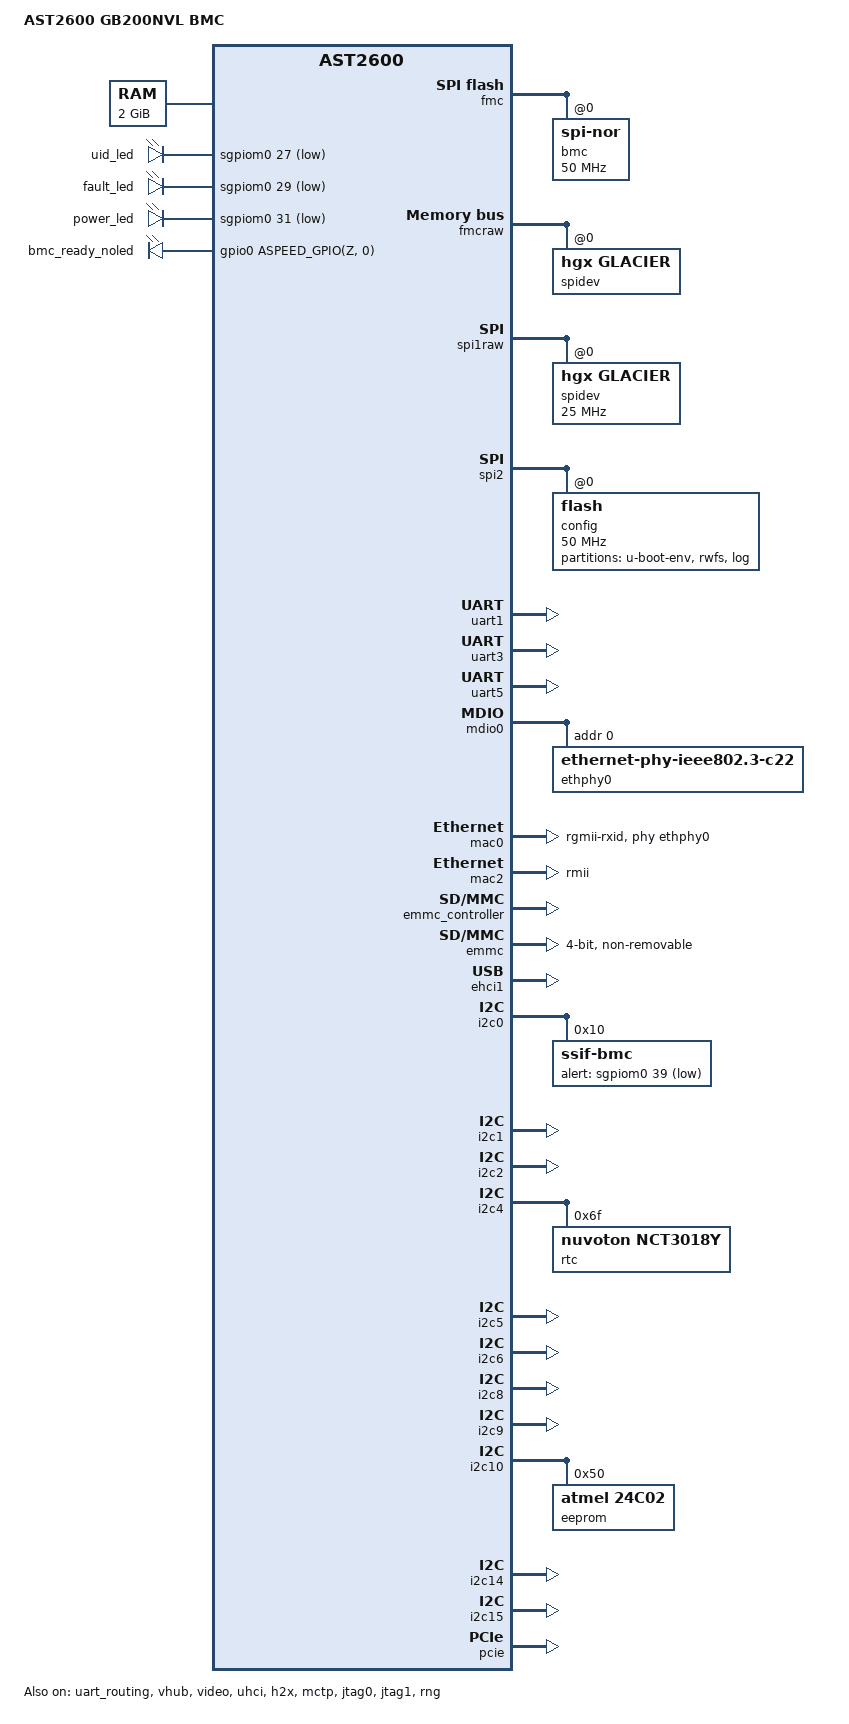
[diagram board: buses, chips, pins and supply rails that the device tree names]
// SPDX-License-Identifier: GPL-2.0+
/dts-v1/;

#include "nvidia-gb200nvl-bmc-core.dtsi"
#include <dt-bindings/leds/common.h>

/ {
    model = "AST2600 GB200NVL BMC";
    compatible = "aspeed,ast2600";

	aliases {
		serial2 = &uart3;
		serial4 = &uart5;
	};

	chosen {
		stdout-path = &uart5;
		bootargs = "console=tty0 console=ttyS4,115200n8 earlyprintk";
	};

	memory@80000000 {
		device_type = "memory";
		reg = <0x80000000 0x80000000>;
	};

	reserved-memory {
		#address-cells = <1>;
		#size-cells = <1>;
		ranges;

		vga_memory: framebuffer@9f000000 {
			no-map;
			reg = <0x9f000000 0x01000000>; /* 16M */
		};


		ramoops@a0000000 {
			compatible = "ramoops";
			reg = <0xa0000000 0x100000>; /* 1MB */
			record-size = <0x10000>; /* 64KB */
			max-reason = <2>; /* KMSG_DUMP_OOPS */
		};

		gfx_memory: framebuffer {
			size = <0x01000000>;
			alignment = <0x01000000>;
			compatible = "shared-dma-pool";
			reusable;
		};

		video_engine_memory: jpegbuffer {
			size = <0x02000000>;	/* 32M */
			alignment = <0x01000000>;
			compatible = "shared-dma-pool";
			reusable;
		};
	};

    power-gpios{
        n2-gpios = <&gpio0 ASPEED_GPIO(N, 2) (GPIO_ACTIVE_HIGH|GPIO_PULL_UP)>;
        n3-gpios = <&gpio0 ASPEED_GPIO(N, 3) (GPIO_ACTIVE_HIGH|GPIO_PULL_UP)>;
    };

    leds {
        compatible = "gpio-leds";
        uid_led {
                gpios = <&sgpiom0 27 GPIO_ACTIVE_LOW>;
        };
        fault_led {
                gpios = <&sgpiom0 29 GPIO_ACTIVE_LOW>;
        };
        power_led {
                gpios = <&sgpiom0 31 GPIO_ACTIVE_LOW>;
        };

        // Non-LEDs:
        //   BMC_READY-O GPIO pin (not an LED) is being bound to the GPIO LED driver.
        // Notes:
        // * This is a workaround and leverages the GPIO LED driver to enable control of
        //   reset tolerance and still allow the GPIO to be controlled from user space.
        // * The standard Linux GPIO driver allows control of reset tolerance, however
        //   does not expose user space APIs for user space control of the GPIO pin.
        // * GPIO_TRANSITORY = reset tolerance is disabled
        // * Any non-leds should be added below this line.
        bmc_ready_noled {
            gpios = <&gpio0 ASPEED_GPIO(Z, 0) (GPIO_ACTIVE_HIGH|GPIO_TRANSITORY)>;
        };
    };
};

// Enabled Primary flash on FMC for bring up activity
&fmc {
    status = "okay";
    flash@0 {
        status = "okay";
        compatible = "jedec,spi-nor";
        label = "bmc";
        spi-max-frequency = <50000000>;
#include "aspeed-bmc-nvidia-gh-flash-layout-64.dtsi"
    };
};

&fmcraw {
    status = "okay";
    spidev@0 {
        compatible = "hgx,glacier";
        status = "okay";
    };
};

&spi1raw {
    status = "okay";
    pinctrl-names = "default";
    pinctrl-0 = <&pinctrl_spi1_default>;
    spidev@0 {
        spi-max-frequency = <25000000>;
        compatible = "hgx,glacier";
        status = "okay";
    };
};

&spi2 {
    status = "okay";
    pinctrl-names = "default";
    pinctrl-0 = <&pinctrl_spi2_default>;

    // Data SPI is 64MB in size
    flash@0 {
        status = "okay";
        label = "config";
        spi-max-frequency = <50000000>;
        partitions {
            compatible = "fixed-partitions";
            #address-cells = <1>;
            #size-cells = <1>;

            u-boot-env@0 {
                reg = <0x0 0x40000>;            // 256KB at offset 0
                label = "u-boot-env";
            };

            rwfs@40000 {
                reg = <0x40000 0x1000000>;      // 16MB at offset 0x40000
                label = "rwfs";
            };

            log@0x1040000 {
                reg = <0x1040000 0x2800000>;    // 40MB at offset 0x1040000
                label = "log";                  // Move log to EMMC, make this unused
            };
        };
    };
};

&uart1 {
        status = "okay";        
};

&uart3 {
        //Enabling SOL
        status = "okay";
        
};

&uart5 {
    // BMC Debug Console
    status = "okay";
};

&uart_routing {
       status = "okay";
};

// MAC1 (per schematics, 1-based MAC1-MAC4) of AST2600 connected to external PHY
// This is "mac0" in zero-based DTS
&mdio0 {
    status = "okay";
    ethphy0: ethernet-phy@0 {
        compatible = "ethernet-phy-ieee802.3-c22";
        reg = <0>;
    };
};

&mac0 {
    status = "okay";
    pinctrl-names = "default";
    phy-mode = "rgmii-rxid";
    max-speed = <1000>;
    phy-handle = <&ethphy0>;
    pinctrl-0 = <&pinctrl_rgmii1_default>;
};

&mac2 {
    status = "okay";
    phy-mode = "rmii";
    use-ncsi;
    pinctrl-names = "default";
    pinctrl-0 = <&pinctrl_rmii3_default>;
};


// Enable emmc
&emmc_controller {
    status = "okay";
};

&emmc {
    non-removable;
    bus-width = <4>;
    max-frequency = <52000000>;
    clk-phase-mmc-hs200 = <9>, <225>;
};

/*
 * Enable USB port A as device (via the virtual hub) to host
 */
&vhub {
    status = "okay";
    pinctrl-names = "default"; 
    /* 
        Uncomment below line to enable internal EHCI controller
        Current config uses xHCI Port1
    */
    // pinctrl-0 = <&pinctrl_usb2adp_default>;
};

&video {
	status = "okay";
	memory-region = <&video_engine_memory>;
};

// USB 2.0 to HMC, on USB Port B
&ehci1 {
   status = "okay";
};

// USB 1.0
&uhci {
   status = "okay";
};

// I2C1, SSIF IPMI interface
&i2c0 {
    status = "okay";
    bus-frequency = <400000>;
	disable-master = <1>;
    ssif-bmc@10 {
        compatible = "ssif-bmc";
        alert-gpio = <&sgpiom0 39 GPIO_ACTIVE_LOW>;
        pulse_width_us = <5>;
        timeout_ms = <4995>;
        reg = <0x10>;
        };
};

// I2C2
// BMC_I2C1_FPGA - Secondary FPGA
// HMC EROT
&i2c1 {
    status = "okay";
    bus-frequency = <400000>;
};

// I2C3
// BMC_I2C0_FPGA - Primary FPGA
// HMC FRU EEPROM
&i2c2 {
    status = "okay";
    bus-frequency = <400000>;
    multi-master;
};

// I2C4
&i2c3 {
    status = "disabled";
};

// I2C5
// RTC Driver
// IO Expander
&i2c4 {
    status = "okay";
    bus-frequency = <400000>;
    rtc@6f {
        compatible = "nuvoton,nct3018y";
        reg = <0x6f>;
        };
};

// I2C6
// Module 0/1 I2C MUX x3 
&i2c5 {
    status = "okay";
    bus-frequency = <400000>;
};

// I2C7
// Module 0/1 Leak Sensors
// Module 0/1 Fan Controllers
&i2c6 {
    status = "okay";
    bus-frequency = <400000>;
};

// I2C9
// M.2
&i2c8 {
    status = "okay";
    bus-frequency = <400000>;
};

// I2C10
// HMC IO Expander
// Module 0/1 IO Expanders
&i2c9 {
    status = "okay";
    bus-frequency = <400000>;
};

// I2C11
// BMC FRU EEPROM
// BMC Temp Sensor
&i2c10 {
    status = "okay";
    bus-frequency = <400000>;
    // BMC FRU EEPROM - 256 bytes
    eeprom@50 {
        compatible = "atmel,24c02";
        reg = <0x50>;
        pagesize = <8>;
    };
};

// I2C12
&i2c11 {
    status = "disabled";
};

// I2C13
&i2c12 {
    status = "disabled";
};

// I2C14
// Module 0 UPHY3 SMBus
&i2c13 {
    status = "disabled";
};

// I2C15
// Module 1 UPHY3 SMBus
&i2c14 {
    status = "okay";
    bus-frequency = <400000>;
};

// I2C16
&i2c15 {
    status = "okay";
    bus-frequency = <400000>;
};

// PCIe RC
&pcie {
    status = "okay";

    interrupts = <GIC_SPI 168 IRQ_TYPE_LEVEL_HIGH>;

    pcie_intc0: legacy-interrupt-controller {
                    interrupts = <GIC_SPI 168 IRQ_TYPE_EDGE_RISING>;
    };
};

// Bridge between AHB bus and PCIe RC.
&h2x {
    status = "okay";
};

&mctp {
    status = "okay";
};

&jtag0 {
    mux-gpios = <&gpio0 50 (GPIO_ACTIVE_HIGH | GPIO_PULL_UP)>;
    status = "okay";
};

&jtag1 {
    mux-gpios = <&sgpiom0 41 (GPIO_ACTIVE_HIGH | GPIO_PULL_UP)>;
    status = "okay";
};

&rng {
    status = "okay";
};

